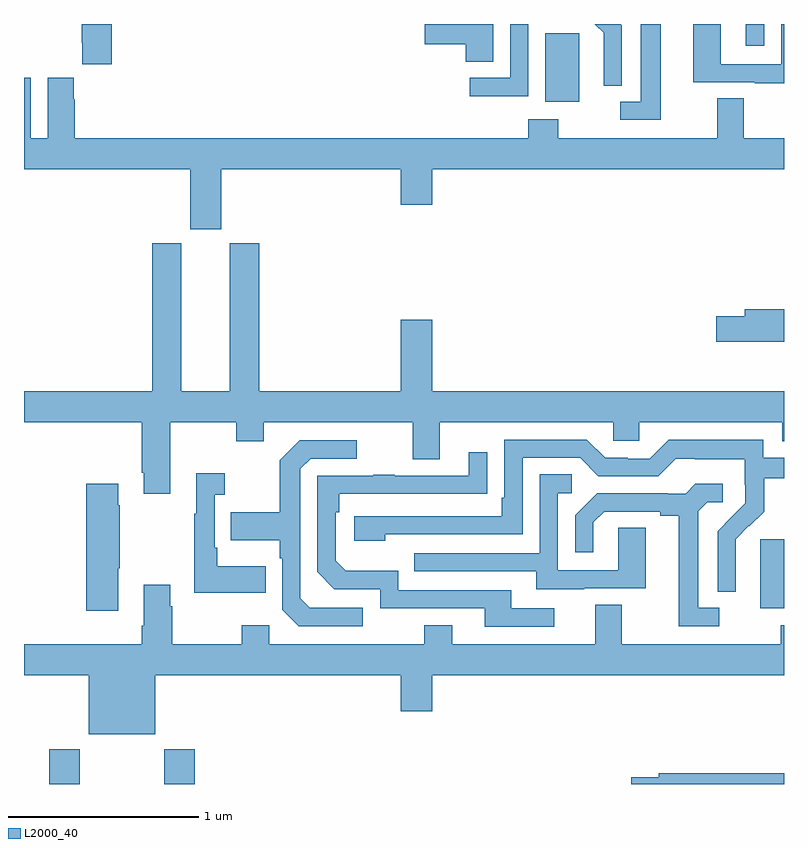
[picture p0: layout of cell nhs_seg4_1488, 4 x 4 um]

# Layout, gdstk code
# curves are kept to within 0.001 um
import gdstk
lib = gdstk.Library(unit=1e-6, precision=1e-09)
def R(c, l, rs):  # rectangles x0, y0, x1, y1
    for r in rs: c.add(gdstk.rectangle(r[:2], r[2:], *l))
def P(c, l, *ps):  # polygons
    for p in ps: c.add(gdstk.Polygon(p, *l))
L2000_40 = (2000, 40)

nhs_seg4_1488 = lib.new_cell('nhs_seg4_1488')
R(nhs_seg4_1488, L2000_40, [(187.133,810.9,187.293,811.084), (187.738,810.9,187.898,811.084), (190.874,811.826,191,812.187), (189.743,814.49,189.922,814.851), (190.799,814.785,190.896,814.9)])
P(nhs_seg4_1488, L2000_40, [(189.469,814.9),(189.108,814.9),(189.108,814.793),(189.326,814.793),(189.326,814.702),(189.469,814.702)],
  [(191,814.9),(190.986,814.9),(190.986,814.689),(190.668,814.689),(190.668,814.9),(190.523,814.9),(190.523,814.593),(190.847,814.593),(190.847,814.589),(191,814.589)],
  [(190.146,814.894),(190.14,814.9),(190.004,814.9),(190.052,814.853),(190.052,814.73),(190.05,814.73),(190.05,814.576),(190.146,814.576)],
  [(189.654,814.9),(189.558,814.9),(189.558,814.617),(189.345,814.617),(189.345,814.519),(189.654,814.519)],
  [(190.351,814.9),(190.247,814.9),(190.247,814.491),(190.137,814.491),(190.137,814.395),(190.351,814.395)],
  [(187.463,814.9),(187.303,814.9),(187.303,814.801),(187.307,814.801),(187.307,814.689),(187.463,814.689)],
  [(188.038,814.136),(188.984,814.136),(188.984,813.948),(189.148,813.948),(189.148,814.136),(191,814.136),(191,814.3),(190.789,814.3),(190.789,814.508),(190.649,814.508),(190.649,814.3),(189.813,814.3),(189.813,814.399),(189.653,814.399),(189.653,814.3),(187.268,814.3),(187.268,814.505),(187.261,814.505),(187.261,814.618),(187.124,814.618),(187.124,814.3),(187.036,814.3),(187.036,814.618),(187,814.618),(187,814.136),(187.874,814.136),(187.874,813.819),(188.038,813.819)],
  [(191,813.398),(190.793,813.398),(190.793,813.362),(190.644,813.362),(190.644,813.227),(191,813.227)],
  [(189.148,813.343),(188.984,813.343),(188.984,812.968),(188.237,812.968),(188.237,813.747),(188.084,813.747),(188.084,812.968),(187.828,812.968),(187.828,813.747),(187.676,813.747),(187.676,812.968),(187,812.968),(187,812.804),(187.619,812.804),(187.619,812.539),(187.631,812.539),(187.631,812.427),(187.771,812.427),(187.771,812.804),(188.116,812.804),(188.116,812.705),(188.263,812.705),(188.263,812.804),(189.047,812.804),(189.047,812.61),(189.187,812.61),(189.187,812.804),(190.101,812.804),(190.101,812.706),(190.239,812.706),(190.239,812.804),(190.991,812.804),(190.991,812.705),(191,812.705),(191,812.968),(189.148,812.968)],
  [(190.746,812.066),(190.745,812.189),(190.815,812.259),(190.818,812.256),(190.895,812.333),(190.895,812.508),(191,812.508),(191,812.616),(190.89,812.616),(190.89,812.713),(190.393,812.713),(190.293,812.613),(190.178,812.613),(190.178,812.616),(190.059,812.616),(189.963,812.712),(189.528,812.712),(189.528,812.407),(189.515,812.407),(189.515,812.31),(188.739,812.31),(188.739,812.18),(188.9,812.18),(188.9,812.214),(189.624,812.214),(189.624,812.616),(189.927,812.616),(190.023,812.52),(190.338,812.52),(190.431,812.613),(190.531,812.613),(190.531,812.609),(190.794,812.609),(190.794,812.475),(190.796,812.475),(190.796,812.378),(190.65,812.23),(190.65,811.912),(190.746,811.912)],
  [(188.782,811.827),(188.505,811.827),(188.454,811.878),(188.454,812.559),(188.508,812.613),(188.752,812.613),(188.752,812.709),(188.451,812.709),(188.346,812.603),(188.346,812.331),(188.089,812.331),(188.089,812.183),(188.346,812.183),(188.346,812.087),(188.358,812.087),(188.358,811.818),(188.445,811.731),(188.782,811.731)],
  [(189.79,811.824),(189.565,811.824),(189.565,811.92),(188.97,811.92),(188.97,812.023),(188.693,812.023),(188.64,812.076),(188.64,812.33),(188.66,812.33),(188.66,812.427),(189.437,812.428),(189.437,812.647),(189.341,812.647),(189.341,812.523),(188.951,812.523),(188.951,812.528),(188.839,812.528),(188.839,812.523),(188.544,812.523),(188.544,812.016),(188.634,811.926),(188.874,811.926),(188.874,811.824),(189.425,811.824),(189.425,811.728),(189.79,811.728)],
  [(188.273,812.047),(188.017,812.047),(188.017,812.143),(188.004,812.143),(188.004,812.423),(188.056,812.423),(188.056,812.536),(187.907,812.536),(187.907,812.323),(187.896,812.323),(187.896,811.907),(188.273,811.907)],
  [(189.949,811.929),(190.273,811.929),(190.273,812.249),(190.128,812.249),(190.128,812.025),(189.81,812.025),(189.81,812.43),(189.883,812.43),(189.883,812.531),(189.714,812.531),(189.714,812.115),(189.055,812.115),(189.055,812.019),(189.695,812.019),(189.695,811.925),(189.949,811.925)],
  [(187.495,812.035),(187.503,812.035),(187.503,812.366),(187.495,812.366),(187.495,812.479),(187.328,812.479),(187.328,811.812),(187.495,811.812)],
  [(190.66,811.827),(190.549,811.827),(190.549,812.335),(190.596,812.382),(190.678,812.382),(190.678,812.479),(190.534,812.479),(190.482,812.427),(190.388,812.427),(190.388,812.43),(190.016,812.43),(189.9,812.314),(189.9,812.121),(189.997,812.121),(189.997,812.277),(190.054,812.334),(190.349,812.334),(190.349,812.312),(190.445,812.312),(190.445,811.731),(190.66,811.731)],
  [(187.69,811.472),(188.984,811.472),(188.984,811.284),(189.148,811.284),(189.148,811.472),(191,811.472),(191,811.735),(190.984,811.735),(190.984,811.636),(190.147,811.636),(190.147,811.844),(190.007,811.844),(190.007,811.636),(189.253,811.636),(189.253,811.735),(189.106,811.735),(189.106,811.636),(188.292,811.636),(188.292,811.735),(188.146,811.735),(188.146,811.636),(187.779,811.636),(187.779,811.835),(187.771,811.835),(187.771,811.948),(187.631,811.948),(187.631,811.732),(187.619,811.732),(187.619,811.636),(187,811.636),(187,811.472),(187.34,811.472),(187.34,811.163),(187.69,811.163)],
  [(191,810.956),(190.342,810.956),(190.342,810.936),(190.196,810.936),(190.196,810.9),(191,810.9)])

lib.write_gds('nhs_seg4_1488.gds')
